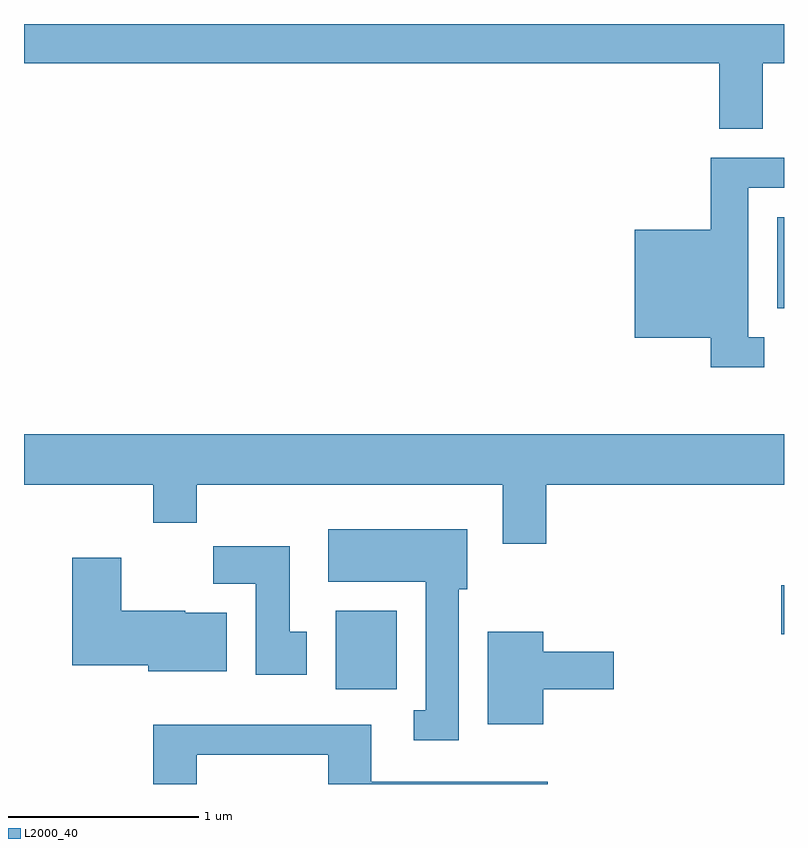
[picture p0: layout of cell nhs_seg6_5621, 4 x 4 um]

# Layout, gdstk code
import gdstk
lib = gdstk.Library(unit=1e-6, precision=1e-09)
def R(c, l, rs):  # rectangles x0, y0, x1, y1
    for r in rs: c.add(gdstk.rectangle(r[:2], r[2:], *l))
def P(c, l, *ps):  # polygons
    for p in ps: c.add(gdstk.Polygon(p, *l))
L2000_40 = (2000, 40)

nhs_seg6_5621 = lib.new_cell('nhs_seg6_5621')
R(nhs_seg6_5621, L2000_40, [(357.251,1626.661,357.574,1627.074), (359.596,1626.951,359.611,1627.209), (359.576,1628.666,359.611,1629.144)])
P(nhs_seg6_5621, L2000_40, [(359.499,1629.956),(359.611,1629.956),(359.611,1630.162),(355.611,1630.162),(355.611,1629.956),(359.271,1629.956),(359.271,1629.611),(359.499,1629.611)],
  [(359.508,1628.514),(359.424,1628.514),(359.424,1629.301),(359.611,1629.301),(359.611,1629.459),(359.226,1629.459),(359.226,1629.079),(358.826,1629.079),(358.826,1628.511),(359.226,1628.511),(359.226,1628.356),(359.508,1628.356)],
  [(358.359,1627.736),(359.611,1627.736),(359.611,1628.004),(355.611,1628.004),(355.611,1627.736),(356.291,1627.736),(356.291,1627.536),(356.519,1627.536),(356.519,1627.736),(358.131,1627.736),(358.131,1627.426),(358.359,1627.426)],
  [(357.899,1627.186),(357.944,1627.186),(357.944,1627.504),(357.211,1627.504),(357.211,1627.226),(357.726,1627.226),(357.726,1626.549),(357.663,1626.549),(357.663,1626.391),(357.899,1626.391)],
  [(357.099,1626.964),(357.009,1626.964),(357.009,1627.414),(356.606,1627.414),(356.606,1627.216),(356.831,1627.216),(356.831,1626.736),(357.099,1626.736)],
  [(356.679,1627.064),(356.46,1627.064),(356.46,1627.074),(356.124,1627.074),(356.124,1627.354),(355.866,1627.354),(355.866,1626.786),(356.266,1626.786),(356.266,1626.756),(356.679,1626.756)],
  [(358.344,1626.661),(358.714,1626.661),(358.714,1626.859),(358.344,1626.859),(358.344,1626.964),(358.051,1626.964),(358.051,1626.476),(358.344,1626.476)],
  [(356.519,1626.316),(357.211,1626.316),(357.211,1626.162),(358.368,1626.162),(358.368,1626.174),(357.439,1626.174),(357.439,1626.474),(356.291,1626.474),(356.291,1626.162),(356.519,1626.162)])

lib.write_gds('nhs_seg6_5621.gds')
